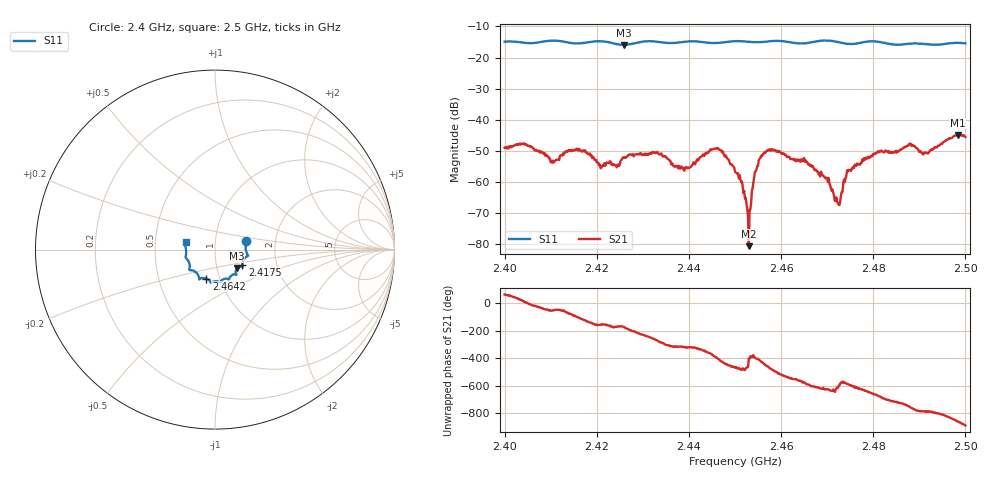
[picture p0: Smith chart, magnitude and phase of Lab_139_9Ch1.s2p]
# Hz S RI R 50
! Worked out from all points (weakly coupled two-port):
!   601 points, 2.4 GHz to 2.5 GHz, reference 50 ohm
!   highest |S21| = -44.86 dB at 2.4983 GHz (marker M1); lowest = -80.6 dB at 2.453 GHz (marker M2)
!   lowest |S11| = -15.9 dB at 2.4258 GHz (marker M3), VSWR 1.38, Z = 62.4 - j13.2 ohm
!   |S11| at or under -10 dB: start of sweep to end of sweep
!   S12 and S22 are empty: the file has one direction only
!   S11 on the Smith chart (normalised r, x): 2.4 GHz: 1.41, +0.14; 2.4175 GHz: 1.34, -0.23; 2.4642 GHz: 0.86, -0.29; 2.5 GHz: 0.72, +0.06
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2.4e9  0.1734 0.0494  0.0015 0.0032  0 0  0 0
2.404333e9  0.1716 0.0229  0.00393 0.000648  0 0  0 0
2.4105e9  0.1842 -0.0339  0.00138 -0.00173  0 0  0 0
2.416667e9  0.153 -0.074  -0.00122 -0.00291  0 0  0 0
2.4175e9  0.1521 -0.0835  -0.00186 -0.00264  0 0  0 0
2.421e9  0.1547 -0.0971  -0.00156 -0.00069  0 0  0 0
2.425833e9  0.1222 -0.1032  -0.00243 -0.000334  0 0  0 0
2.433333e9  0.1136 -0.1373  0.000278 0.00286  0 0  0 0
2.439333e9  0.0796 -0.1615  0.00139 0.00103  0 0  0 0
2.446333e9  0.0448 -0.1662  0.00251 -0.00242  0 0  0 0
2.45e9  0.0287 -0.1814  -0.000498 -0.00136  0 0  0 0
2.453e9  0.0174 -0.1783  6.71e-05 -6.41e-05  0 0  0 0
2.454333e9  0.00767 -0.1765  0.00119 -0.000846  0 0  0 0
2.456e9  -0.0065 -0.1779  0.000829 -0.00264  0 0  0 0
2.464167e9  -0.0482 -0.1616  -0.0019 0.000928  0 0  0 0
2.466667e9  -0.0765 -0.1591  -0.000748 0.00159  0 0  0 0
2.472333e9  -0.0893 -0.1538  -0.000104 0.000443  0 0  0 0
2.474833e9  -0.105 -0.1276  -0.000909 0.00128  0 0  0 0
2.483333e9  -0.1406 -0.0894  0.00305 0.0008  0 0  0 0
2.491333e9  -0.1618 -0.031  0.00115 -0.00269  0 0  0 0
2.498333e9  -0.1693 0.0347  -0.00445 -0.00358  0 0  0 0
2.5e9  -0.1635 0.0428  -0.00522 -0.000838  0 0  0 0
